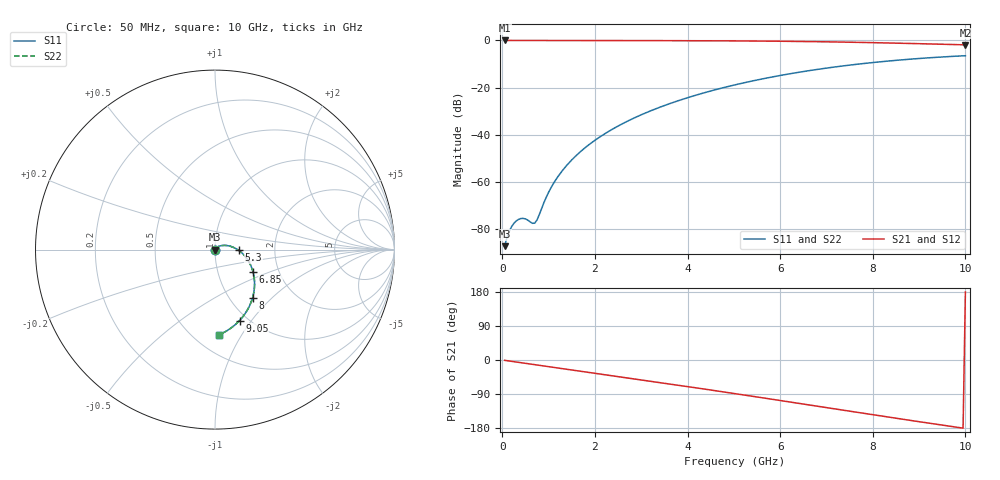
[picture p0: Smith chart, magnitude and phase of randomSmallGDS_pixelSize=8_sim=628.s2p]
! freq	dB(S11)	phase(S11)	dB(S12)	phase(S12)
!  dB(S21)	phase(S21)	dB(S22)	phase(S22)
!S-par simulation data
#  GHz  S  DB  R 50
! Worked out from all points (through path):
!   200 points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, 50 MHz to 10 GHz, reference 50 ohm
!   highest |S21| = 0.00 dB at 50 MHz (marker M1); lowest = -1.9 dB at 10 GHz (marker M2)
!   group delay of S21, straight-line fit = 50.5 ps
!   lowest |S11| = -87.2 dB at 50 MHz (marker M3), VSWR 1.00, Z = 50 - j0.00304 ohm
!   |S11| at or under -10 dB: start of sweep to 7.698 GHz
!   |S22| runs from -87.2 to -6.5 dB; largest |S21 - S12| = 0
!   S11 on the Smith chart (normalised r, x): 50 MHz: 1.00, -0.00; 5.3 GHz: 1.30, -0.01; 6.85 GHz: 1.48, -0.40; 8 GHz: 1.27, -0.77; 9.05 GHz: 0.92, -0.88; 10 GHz: 0.66, -0.80
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0.05  -87.21 -44.2  -0.00 -0.9  -0.00 -0.9  -87.21 -44.2
0.15  -80.93 -76.4  -0.00 -2.6  -0.00 -2.6  -80.93 -76.5
0.3  -76.53 -94.4  -0.00 -5.2  -0.00 -5.2  -76.52 -94.5
0.4  -75.49 -104.2  -0.01 -7.0  -0.01 -7.0  -75.48 -104.4
0.7  -77.44 -179.2  -0.01 -12.2  -0.01 -12.2  -77.35 -179.3
0.75  -76.09 156.5  -0.01 -13.1  -0.01 -13.1  -76.01 156.7
1  -64.38 100.6  -0.02 -17.4  -0.02 -17.4  -64.36 100.9
1.15  -59.22 90.0  -0.02 -20.0  -0.02 -20.0  -59.22 90.2
1.4  -52.76 79.3  -0.03 -24.3  -0.03 -24.3  -52.75 79.5
1.75  -46.10 68.9  -0.03 -30.4  -0.03 -30.4  -46.09 69.0
2.45  -36.82 52.8  -0.05 -42.6  -0.05 -42.6  -36.82 52.8
3.4  -28.32 33.9  -0.07 -59.4  -0.07 -59.4  -28.32 33.9
4.25  -22.79 17.8  -0.12 -74.6  -0.12 -74.6  -22.79 17.8
5.05  -18.70 2.9  -0.19 -89.2  -0.19 -89.2  -18.70 2.9
5.3  -17.59 -1.8  -0.22 -93.8  -0.22 -93.8  -17.59 -1.8
6  -14.85 -14.9  -0.33 -106.8  -0.33 -106.8  -14.85 -14.8
6.7  -12.57 -28.0  -0.49 -120.0  -0.49 -120.0  -12.57 -27.9
6.85  -12.14 -30.8  -0.53 -122.8  -0.53 -122.8  -12.14 -30.7
8  -9.36 -52.0  -0.92 -144.4  -0.92 -144.4  -9.36 -52.0
8.35  -8.69 -58.4  -1.07 -150.9  -1.07 -150.9  -8.69 -58.4
9.05  -7.57 -70.9  -1.39 -163.7  -1.39 -163.7  -7.57 -70.9
10  -6.47 -87.3  -1.86 179.3  -1.86 179.3  -6.47 -87.3
